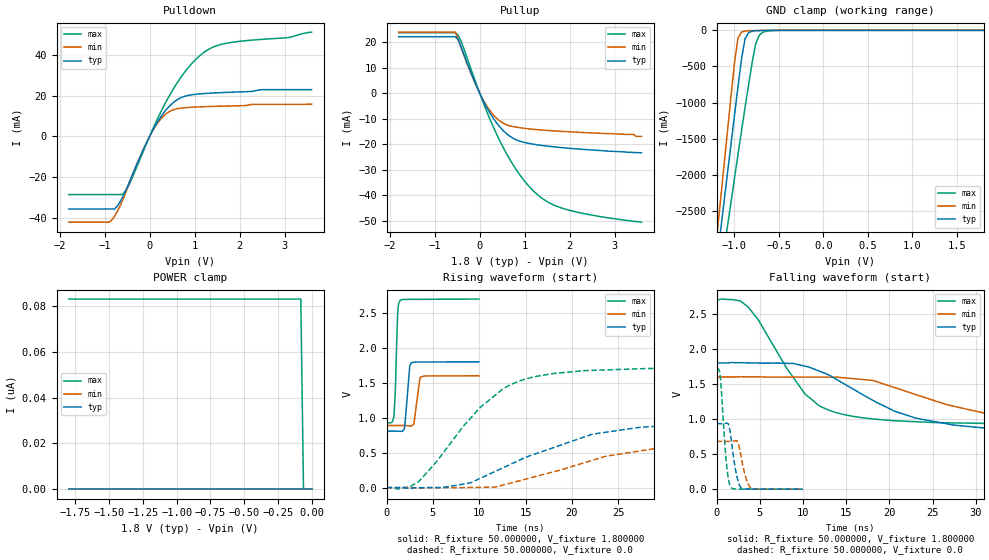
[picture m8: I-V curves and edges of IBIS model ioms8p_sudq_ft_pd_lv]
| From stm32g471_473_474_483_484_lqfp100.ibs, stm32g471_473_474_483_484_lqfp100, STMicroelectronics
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|   Model ioms8p_sudq_ft_pd_lv
[Model]  ioms8p_sudq_ft_pd_lv
Model_type I/O
Polarity   Non-Inverting
Enable   Active-Low
Vinl =   0.540000V
Vinh =   1.260000V
Vmeas =  0.900000V
Cref =   50.000000pF
Rref =   100.000000M
Vref =   0.0V
C_comp   1.984800pF   1.899400pF   2.077500pF
[Temperature Range]   25.000000   -40.000000   0.125000k
[Pullup Reference]   1.800000V   1.600000V   2.700000V
[Pulldown Reference]   0.0V   0.0V   0.0V
[POWER Clamp Reference]   1.800000V   1.600000V   2.700000V
[GND Clamp Reference]   0.0V   0.0V   0.0V
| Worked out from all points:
|   slope of the pulldown table from 0 to 0.27 V, typ, clamps not added: 26.4 ohm
|   slope of the pullup table from 0 to 0.27 V, typ, clamps not added: 30.1 ohm
|   GND clamp passes 1 mA (typ) near -0.60 V on its own axis
|   rising waveform, R_fixture 50.000000, V_fixture 1.800000: 20-80 % time 371ps typ, 420ps min, 255ps max; typ from 0.808 V to 1.8 V
|   rising waveform, R_fixture 50.000000, V_fixture 0.0: 20-80 % time 10.8ns typ, 12.9ns min, 6.96ns max; typ from 0 V to 0.933 V
|   falling waveform, R_fixture 50.000000, V_fixture 1.800000: 20-80 % time 9.94ns typ, 12.5ns min, 5.81ns max; typ from 1.8 V to 0.808 V
|   falling waveform, R_fixture 50.000000, V_fixture 0.0: 20-80 % time 692ps typ, 757ps min, 587ps max; typ from 0.933 V to 0 V
[Pulldown]
|Voltage   I(typ)   I(min)   I(max)
-1.8V     -35.64mA   -42.15mA   -28.59mA
-900mV    -35.64mA   -42.15mA   -28.59mA
-780mV    -35.64mA   -39.2mA    -28.59mA
-600mV    -29.83mA   -31.31mA   -28.52mA
-420mV    -20.8mA    -21.07mA   -21.98mA
60mV      2.604mA    2.459mA    3.062mA
240mV     9.303mA    8.31mA     11.61mA
480mV     15.67mA    12.64mA    21.52mA
720mV     19.18mA    13.91mA    29.74mA
960mV     20.46mA    14.3mA     36.27mA
1.44V     21.29mA    14.7mA     44.06mA
3.6V      22.91mA    15.79mA    51.15mA
[Pullup]
|Voltage   I(typ)   I(min)   I(max)
-1.8V     22.09mA    23.9mA     23.64mA
-540mV    22.09mA    23.85mA    23.64mA
-480mV    21.01mA    21.1mA     22.74mA
-60mV     2.392mA    2.26mA     2.893mA
300mV     -9.801mA   -8.48mA    -13.12mA
480mV     -13.91mA   -11.33mA   -19.82mA
720mV     -17.48mA   -13.04mA   -27.45mA
1.02V     -19.45mA   -13.87mA   -34.96mA
1.32V     -20.37mA   -14.39mA   -40.32mA
1.62V     -21.02mA   -14.78mA   -43.66mA
2.04V     -21.71mA   -15.22mA   -46.13mA
3.6V      -23.4mA    -17mA      -50.6mA
[GND_clamp]
|Voltage   I(typ)   I(min)   I(max)
-1.8V     -9.477A    -9.805A    -9.016A
-1.2V     -3.243A    -2.9A      -3.759A
-1.16V    -2.83A     -2.409A    -3.417A
-1.12V    -2.418A    -1.919A    -3.076A
-1.08V    -2.008A    -1.431A    -2.736A
-1V       -1.194A    -466mA     -2.061A
-960mV    -792.8mA   -108.7mA   -1.727A
-920mV    -402mA     -24.36mA   -1.396A
-880mV    -117.8mA   -9.2mA     -1.071A
-760mV    -5.909mA   -2.892mA   -183.8mA
-680mV    -2.407mA   -1.111mA   -26.63mA
1.8V      47.61uA    33.87uA    60.56uA
[POWER_clamp]
|Voltage   I(typ)   I(min)   I(max)
-1.8V     0A         0A         83.17nA
-80mV     0A         0A         83.17nA
-60mV     0A         0A         0A
0V        0A         0A         0A
[Ramp]
| variable   typ   min   max
dV/dt_r  0.55886/10.78826n   0.40700/12.81443n   1.02690/6.94796n
dV/dt_f  0.58904/9.89800n   0.41235/12.45161n   1.06352/5.81102n
R_load = 50.000000
[Rising Waveform]
R_fixture= 50.000000
V_fixture= 1.800000
V_fixture_min= 1.600000
V_fixture_max= 2.700000
|time   V(typ)   V(min)   V(max)
0s        807.9mV    888.7mV    926mV
800.8ps   808mV      888.7mV    1.022V
961ps     807.9mV    888.7mV    1.422V
1.201ns   807.5mV    888.7mV    2.488V
1.461ns   805.5mV    888.7mV    2.677V
1.942ns   847.2mV    888.1mV    2.693V
2.503ns   1.738V     883.3mV    2.694V
2.683ns   1.788V     881.1mV    2.694V
3.624ns   1.798V     1.577V     2.695V
9.97ns    1.799V     1.599V     2.699V
[Rising Waveform]
R_fixture= 50.000000
V_fixture= 0.0
V_fixture_min= 0.0
V_fixture_max= 0.0
|time   V(typ)   V(min)   V(max)
0s        369.9nV    501nV      14.92uV
1.201ns   21.27uV    -846.4nV   -22.39mV
3.504ns   -42.16uV   -8.619mV   89.59mV
10.11ns   133mV      3.817mV    1.148V
12.71ns   292.7mV    41.36mV    1.425V
15.42ns   453.1mV    135.7mV    1.568V
22.22ns   765.5mV    391.5mV    1.678V
27.33ns   862.7mV    524.5mV    1.701V
31.63ns   899.2mV    612.1mV    1.707V
49.85ns   933.5mV    681.5mV    1.712V
[Falling Waveform]
R_fixture= 50.000000
V_fixture= 1.800000
V_fixture_min= 1.600000
V_fixture_max= 2.700000
|time   V(typ)   V(min)   V(max)
0s        1.799V     1.599V     2.699V
2.703ns   1.803V     1.603V     2.686V
3.604ns   1.801V     1.602V     2.603V
10.21ns   1.754V     1.598V     1.362V
11.91ns   1.682V     1.598V     1.187V
13.81ns   1.57V      1.598V     1.092V
20.62ns   1.111V     1.447V     975.3mV
27.43ns   914.2mV    1.183V     944.8mV
34.23ns   849.3mV    994.7mV    931.3mV
49.85ns   807.9mV    888.7mV    926mV
[Falling Waveform]
R_fixture= 50.000000
V_fixture= 0.0
V_fixture_min= 0.0
V_fixture_max= 0.0
|time   V(typ)   V(min)   V(max)
0s        933.5mV    681.5mV    1.712V
440.4ps   933.4mV    681.5mV    1.597V
1.121ns   940.5mV    681.5mV    399.5mV
1.381ns   929.7mV    681.3mV    143.1mV
1.662ns   742.1mV    680.8mV    26.94mV
2.362ns   178.5mV    690.9mV    1.77mV
2.823ns   19.41mV    477.1mV    1.111mV
3.584ns   1.048mV    95.23mV    1.02mV
4.164ns   242.1uV    3.657mV    909.5uV
9.97ns    369.9nV    501nV      14.92uV
